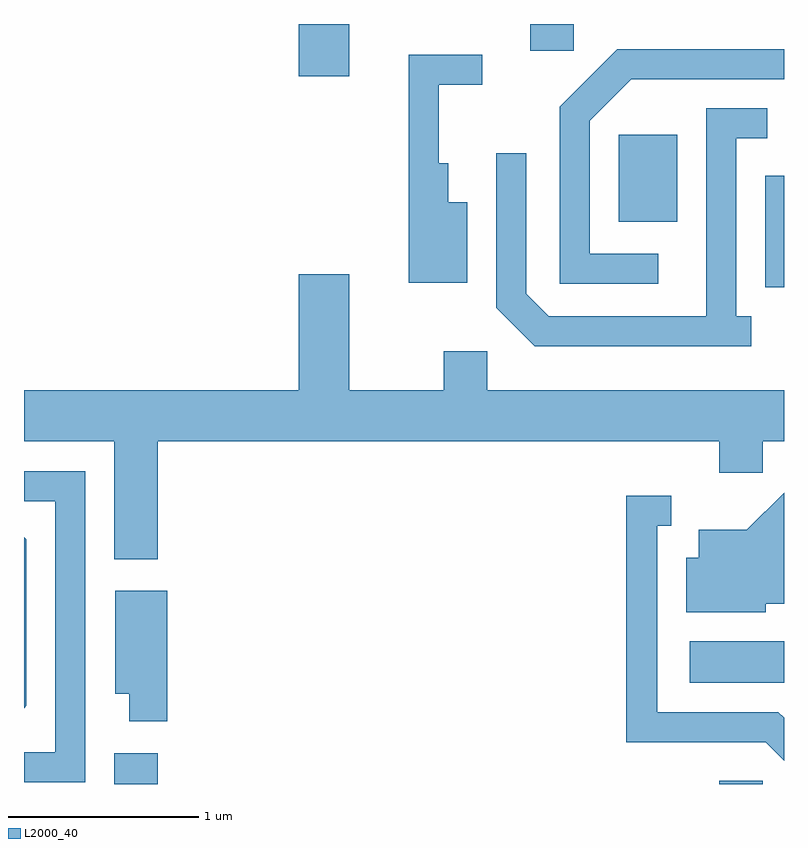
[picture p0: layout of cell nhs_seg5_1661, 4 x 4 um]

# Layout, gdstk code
import gdstk
lib = gdstk.Library(unit=1e-6, precision=1e-09)
def R(c, l, rs):  # rectangles x0, y0, x1, y1
    for r in rs: c.add(gdstk.rectangle(r[:2], r[2:], *l))
def P(c, l, *ps):  # polygons
    for p in ps: c.add(gdstk.Polygon(p, *l))
L2000_40 = (2000, 40)

nhs_seg5_1661 = lib.new_cell('nhs_seg5_1661')
R(nhs_seg5_1661, L2000_40, [(234.086,1486.072,234.314,1486.234), (237.271,1486.072,237.499,1486.089), (237.116,1486.606,237.611,1486.824), (237.511,1488.686,237.611,1489.273), (236.741,1489.031,237.049,1489.489), (235.056,1489.796,235.324,1490.072), (236.276,1489.931,236.504,1490.072)])
P(nhs_seg5_1661, L2000_40, [(236.948,1488.864),(236.589,1488.864),(236.589,1489.564),(236.807,1489.781),(237.611,1489.781),(237.611,1489.939),(236.734,1489.939),(236.431,1489.637),(236.431,1488.706),(236.948,1488.706)],
  [(235.944,1489.134),(235.844,1489.134),(235.844,1489.339),(235.794,1489.339),(235.794,1489.751),(236.023,1489.751),(236.023,1489.909),(235.636,1489.909),(235.636,1488.711),(235.944,1488.711)],
  [(237.438,1488.534),(237.359,1488.534),(237.359,1489.471),(237.523,1489.471),(237.523,1489.629),(237.201,1489.629),(237.201,1488.534),(236.372,1488.534),(236.254,1488.652),(236.254,1489.393),(236.096,1489.393),(236.096,1488.579),(236.299,1488.376),(237.438,1488.376)],
  [(234.314,1487.876),(237.271,1487.876),(237.271,1487.711),(237.499,1487.711),(237.499,1487.876),(237.611,1487.876),(237.611,1488.144),(236.049,1488.144),(236.049,1488.349),(235.821,1488.349),(235.821,1488.144),(235.324,1488.144),(235.324,1488.754),(235.056,1488.754),(235.056,1488.144),(233.611,1488.144),(233.611,1487.876),(234.086,1487.876),(234.086,1487.256),(234.314,1487.256)],
  [(233.934,1487.719),(233.613,1487.719),(233.613,1487.561),(233.776,1487.561),(233.776,1486.239),(233.613,1486.239),(233.613,1486.081),(233.934,1486.081)],
  [(237.514,1487.021),(237.611,1487.021),(237.611,1487.606),(237.414,1487.409),(237.161,1487.409),(237.161,1487.264),(237.096,1487.264),(237.096,1486.976),(237.514,1486.976)],
  [(237.611,1486.42),(237.582,1486.449),(236.944,1486.449),(236.944,1487.431),(237.018,1487.431),(237.018,1487.589),(236.781,1487.589),(236.781,1486.291),(237.514,1486.291),(237.611,1486.194)],
  [(233.624,1486.484),(233.624,1487.359),(233.611,1487.372),(233.611,1486.471)],
  [(234.364,1487.089),(234.091,1487.089),(234.091,1486.546),(234.166,1486.546),(234.166,1486.401),(234.364,1486.401)])

lib.write_gds('nhs_seg5_1661.gds')
